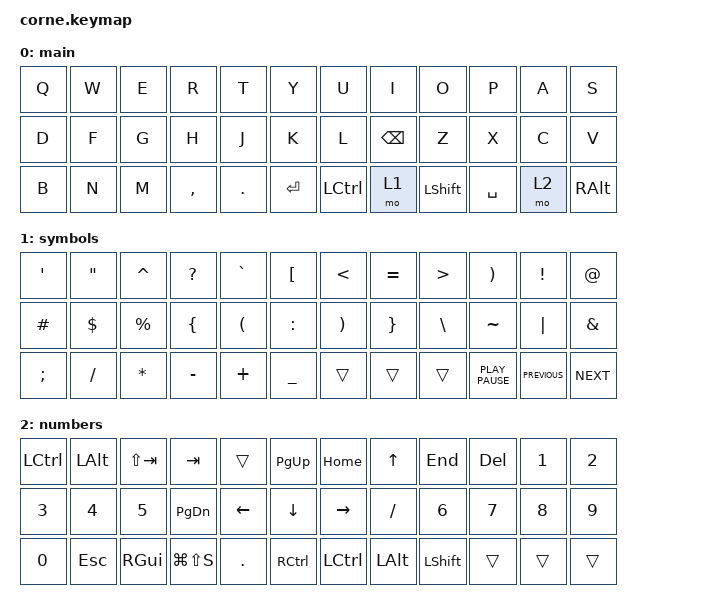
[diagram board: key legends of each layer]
/*
 * Copyright (c) 2020 The ZMK Contributors
 *
 * SPDX-License-Identifier: MIT
 */

#include <behaviors.dtsi>
#include <dt-bindings/zmk/keys.h>
#include <dt-bindings/zmk/bt.h>

/ {
    chosen {
        zmk,physical-layout = &foostan_corne_5col_layout;
    };

    keymap {
        compatible = "zmk,keymap";

        default_layer {
            // -----------------------------------------------------------------------------------------
            // |  Q  |  W  |  E  |  R  |  T  |     |  Y  |  U   |  I   |  O   | P |
            // |  A  |  S  |  D  |  F  |  G  |     |  H  |  J   |  K   |  L   | ' | 
            // |  Z  |  X  |  C  |  V  |  B  |     |  N  |  M   | CTRL | META | . |
            //             | GUI | LWR | SPC |     | ENT | RSE  | BSPC |

            display-name = "main";
            bindings = <
&kp Q  &kp W  &kp E  &kp R      &kp T       &kp Y        &kp U             &kp I          &kp O           &kp P      &kp A  &kp S
&kp D  &kp F  &kp G  &kp H      &kp J       &kp K        &kp L             &kp BACKSPACE  &kp Z           &kp X      &kp C  &kp V
&kp B  &kp N  &kp M  &kp COMMA  &kp PERIOD  &kp ENTER    &kp LEFT_CONTROL  &mo 1          &kp LEFT_SHIFT  &kp SPACE  &mo 2  &kp RIGHT_ALT
            >;
        };

        symbols {
            // -----------------------------------------------------------------------------------------
            // | !     |  @  |  #  |  $  |  %  |     |  ^  |  &  |  *  |  (  |  )  |
            // | BT1   | BT2 | BT3 | BT4 | BT5 |     | LFT | DWN |  UP | RGT |     |
            // | BTCLR |     |     |     |     |     |     |     |     |     |     |
            //               | GUI |     | SPC |     | ENT | ESC | TAB |

            display-name = "symbols";
            bindings = <
&kp SQT        &kp DOUBLE_QUOTES  &kp CARET     &kp QUESTION    &kp GRAVE             &kp LEFT_BRACKET    &kp LESS_THAN          &kp EQUAL        &kp GREATER_THAN  &kp RPAR          &kp EXCLAMATION  &kp AT_SIGN
&kp HASH       &kp DOLLAR         &kp PERCENT   &kp LEFT_BRACE  &kp LEFT_PARENTHESIS  &kp COLON           &kp RIGHT_PARENTHESIS  &kp RIGHT_BRACE  &kp BACKSLASH     &kp TILDE         &kp PIPE         &kp AMPERSAND
&kp SEMICOLON  &kp SLASH          &kp ASTERISK  &kp MINUS       &kp PLUS              &kp UNDERSCORE      &trans                 &trans           &trans            &kp K_PLAY_PAUSE  &kp K_PREVIOUS   &kp K_NEXT
            >;
        };

        numbers {
            // -----------------------------------------------------------------------------------------
            // | 1! |  2@ |  3# |  4$ |  5% |     |  6^ |  7& |  8* |  9(  |  0)  |
            // | -_ |  =+ |  {  |  [  |  (  |     |  )  |  ]  |  }  |  /?  |  \|  |
            // | `~ |     |     |  ,< |  :  |     |  ;  |  .> | CTRL| META |      |
            //            | GUI | ESC | SPC |     | ENT |     | TAB |

            display-name = "numbers";
            bindings = <
&kp LCTRL     &kp LEFT_ALT  &kp LS(TAB)    &kp TAB        &trans      &kp PAGE_UP          &kp HOME          &kp UP        &kp END         &kp DELETE  &kp NUMBER_1  &kp NUMBER_2
&kp NUMBER_3  &kp NUMBER_4  &kp N5         &kp PAGE_DOWN  &kp LEFT    &kp DOWN             &kp RIGHT         &kp SLASH     &kp NUMBER_6    &kp N7      &kp N8        &kp N9
&kp N0        &kp ESC       &kp RIGHT_GUI  &kp LG(LS(S))  &kp PERIOD  &kp RIGHT_CONTROL    &kp LEFT_CONTROL  &kp LEFT_ALT  &kp LEFT_SHIFT  &trans      &trans        &trans
            >;
        };

        extra_1 { status = "reserved"; };

        extra_2 { status = "reserved"; };

        extra_3 { status = "reserved"; };
    };
};
